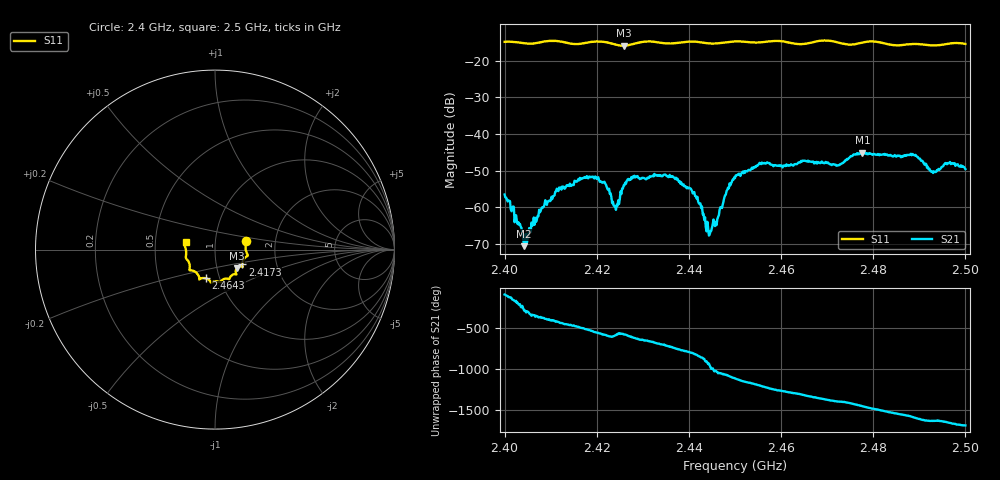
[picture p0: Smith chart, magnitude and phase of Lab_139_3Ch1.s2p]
# Hz S RI R 50
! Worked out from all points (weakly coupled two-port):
!   601 points, 2.4 GHz to 2.5 GHz, reference 50 ohm
!   highest |S21| = -45.09 dB at 2.4777 GHz (marker M1); lowest = -70.6 dB at 2.4042 GHz (marker M2)
!   lowest |S11| = -15.9 dB at 2.4258 GHz (marker M3), VSWR 1.38, Z = 62.3 - j13.2 ohm
!   |S11| at or under -10 dB: start of sweep to end of sweep
!   S12 and S22 are empty: the file has one direction only
!   S11 on the Smith chart (normalised r, x): 2.4 GHz: 1.41, +0.15; 2.4173 GHz: 1.34, -0.23; 2.4643 GHz: 0.86, -0.28; 2.5 GHz: 0.72, +0.06
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2.4e9  0.1734 0.0498  3.45e-05 -0.0015  0 0  0 0
2.404167e9  0.1712 0.0231  2.75e-05 0.000295  0 0  0 0
2.4115e9  0.1816 -0.0351  0.000861 -0.00151  0 0  0 0
2.416667e9  0.153 -0.0749  -0.0018 -0.00171  0 0  0 0
2.417333e9  0.1524 -0.0824  -0.00219 -0.0014  0 0  0 0
2.4215e9  0.1532 -0.0952  -0.00167 0.00141  0 0  0 0
2.424e9  0.1361 -0.0942  -0.000674 0.000797  0 0  0 0
2.425833e9  0.1215 -0.1035  -0.00163 0.00115  0 0  0 0
2.433333e9  0.1128 -0.1364  0.00234 0.00144  0 0  0 0
2.440667e9  0.0787 -0.1644  0.000296 -0.00165  0 0  0 0
2.444333e9  0.0607 -0.1609  -0.000352 0.000218  0 0  0 0
2.45e9  0.0298 -0.1808  0.00212 -0.00134  0 0  0 0
2.455667e9  -0.00406 -0.1778  -0.00222 -0.00319  0 0  0 0
2.464333e9  -0.05 -0.1602  -0.00288 0.0032  0 0  0 0
2.466667e9  -0.076 -0.1598  -0.000937 0.00406  0 0  0 0
2.4725e9  -0.089 -0.1516  0.00273 0.00262  0 0  0 0
2.477667e9  -0.1329 -0.1161  0.00542 -0.00125  0 0  0 0
2.483333e9  -0.1409 -0.0893  0.000423 -0.00513  0 0  0 0
2.489e9  -0.1625 -0.046  -0.00458 -0.00226  0 0  0 0
2.493e9  -0.1607 -0.0139  -0.0029 0.0005  0 0  0 0
2.496167e9  -0.1683 0.0207  -0.00344 0.00209  0 0  0 0
2.5e9  -0.1637 0.042  -0.00126 0.00309  0 0  0 0
